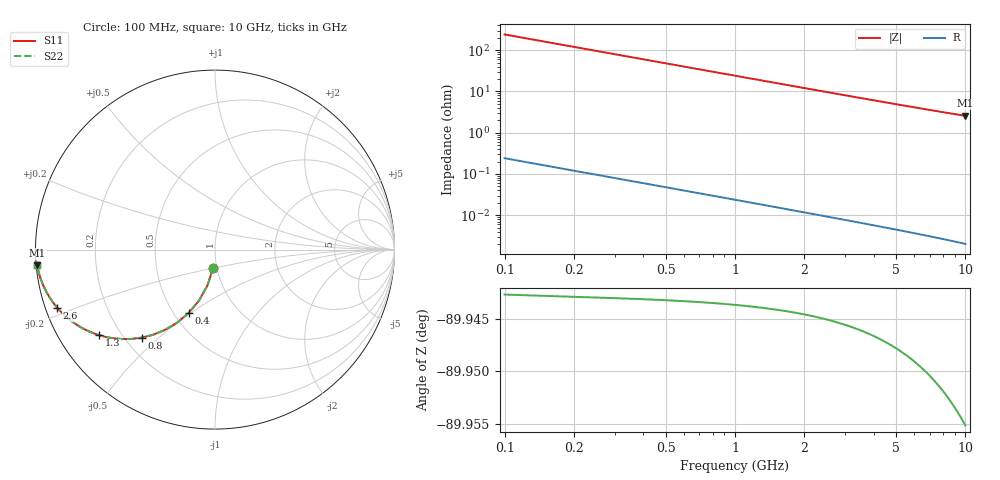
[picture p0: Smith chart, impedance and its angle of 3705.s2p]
# Hz S RI R 50.00
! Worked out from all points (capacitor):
!   100 points, 100 MHz to 10 GHz, reference 50 ohm
!   read as one part in shunt: C = 6.61 pF near 100 MHz
!   lowest |Z| = 2.57 ohm at 10 GHz (marker M1)
!   S11 on the Smith chart (normalised r, x): 100 MHz: 0.96, -0.20; 400 MHz: 0.59, -0.49; 800 MHz: 0.27, -0.44; 1.3 GHz: 0.12, -0.33; 2.6 GHz: 0.03, -0.18; 10 GHz: 0.00, -0.04
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1e8  -0.0108 -0.1027  0.9892 -0.1028  0.9892 -0.1028  -0.0108 -0.1027
2e8  -0.0415 -0.1989  0.9584 -0.1992  0.9584 -0.1992  -0.0415 -0.1989
3e8  -0.0887 -0.2836  0.9113 -0.284  0.9113 -0.284  -0.0887 -0.2836
4e8  -0.1474 -0.3537  0.8526 -0.3543  0.8526 -0.3543  -0.1474 -0.3537
5e8  -0.2125 -0.4082  0.7874 -0.409  0.7874 -0.409  -0.2125 -0.4082
6e8  -0.2798 -0.4479  0.7202 -0.4488  0.7202 -0.4488  -0.2798 -0.4479
7e8  -0.3457 -0.4746  0.6542 -0.4756  0.6542 -0.4756  -0.3457 -0.4746
8e8  -0.4082 -0.4904  0.5917 -0.4916  0.5917 -0.4916  -0.4082 -0.4904
1e9  -0.5185 -0.4984  0.4814 -0.4999  0.4814 -0.4999  -0.5185 -0.4984
1.1e9  -0.5657 -0.4944  0.4342 -0.496  0.4342 -0.496  -0.5657 -0.4944
1.3e9  -0.6451 -0.477  0.3548 -0.4789  0.3548 -0.4789  -0.6451 -0.477
1.5e9  -0.7075 -0.4533  0.2925 -0.4555  0.2925 -0.4555  -0.7075 -0.4533
1.8e9  -0.7768 -0.4146  0.2232 -0.4172  0.2232 -0.4172  -0.7768 -0.4146
2.2e9  -0.8385 -0.3659  0.1615 -0.3691  0.1615 -0.3691  -0.8385 -0.3659
2.6e9  -0.8787 -0.324  0.1213 -0.3279  0.1213 -0.3279  -0.8787 -0.324
3e9  -0.906 -0.2891  0.094 -0.2935  0.094 -0.2935  -0.906 -0.2891
3.4e9  -0.9252 -0.26  0.0748 -0.2651  0.0748 -0.2651  -0.9252 -0.26
4.2e9  -0.9496 -0.215  0.0503 -0.2213  0.0503 -0.2213  -0.9496 -0.215
5.1e9  -0.9653 -0.1787  0.0347 -0.1863  0.0347 -0.1863  -0.9653 -0.1787
6.7e9  -0.9796 -0.1355  0.0203 -0.1457  0.0203 -0.1457  -0.9796 -0.1355
8.4e9  -0.987 -0.106  0.0129 -0.1189  0.0129 -0.1189  -0.987 -0.106
1e10  -0.9909 -0.0865  0.00898 -0.102  0.00898 -0.102  -0.9909 -0.0865
